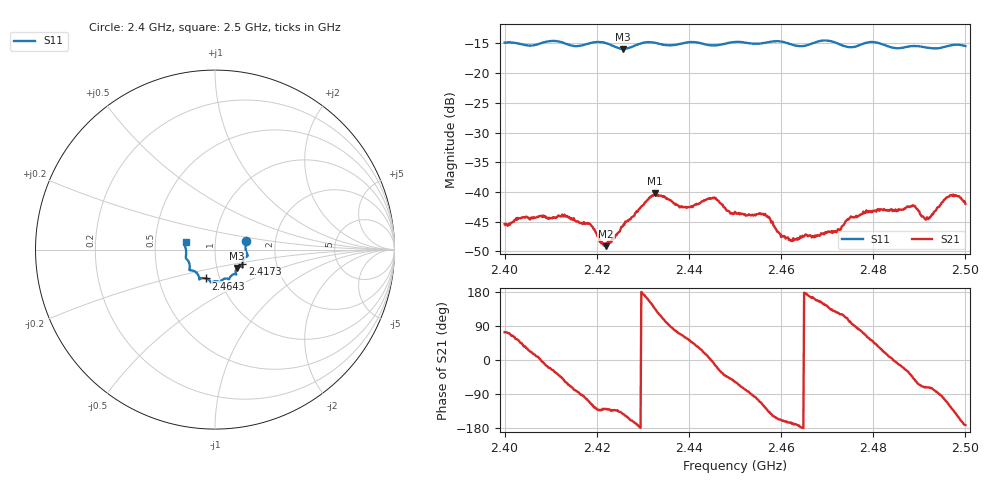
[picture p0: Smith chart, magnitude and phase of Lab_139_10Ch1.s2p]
# Hz S RI R 50
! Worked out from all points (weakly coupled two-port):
!   601 points, 2.4 GHz to 2.5 GHz, reference 50 ohm
!   highest |S21| = -40.24 dB at 2.4327 GHz (marker M1); lowest = -49.1 dB at 2.422 GHz (marker M2)
!   lowest |S11| = -15.9 dB at 2.4257 GHz (marker M3), VSWR 1.38, Z = 62.4 - j13.1 ohm
!   |S11| at or under -10 dB: start of sweep to end of sweep
!   S12 and S22 are empty: the file has one direction only
!   S11 on the Smith chart (normalised r, x): 2.4 GHz: 1.41, +0.14; 2.4173 GHz: 1.34, -0.23; 2.4643 GHz: 0.86, -0.28; 2.5 GHz: 0.72, +0.06
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2.4e9  0.1735 0.0491  0.00154 0.00515  0 0  0 0
2.412167e9  0.179 -0.0371  0.00443 -0.00442  0 0  0 0
2.416667e9  0.1532 -0.0747  -0.000261 -0.00549  0 0  0 0
2.417333e9  0.1524 -0.0822  -0.00077 -0.00547  0 0  0 0
2.422e9  0.1515 -0.095  -0.00219 -0.00272  0 0  0 0
2.425667e9  0.1226 -0.1026  -0.00404 -0.00318  0 0  0 0
2.432667e9  0.116 -0.1372  -0.00681 0.00695  0 0  0 0
2.433333e9  0.113 -0.1365  -0.00526 0.00782  0 0  0 0
2.439167e9  0.0807 -0.1605  0.00378 0.00646  0 0  0 0
2.445333e9  0.0526 -0.1624  0.00877 -0.00112  0 0  0 0
2.45e9  0.0294 -0.1806  0.00362 -0.00575  0 0  0 0
2.456167e9  -0.0075 -0.1785  -0.00327 -0.00565  0 0  0 0
2.4605e9  -0.0247 -0.1811  -0.00395 -0.00146  0 0  0 0
2.464333e9  -0.0501 -0.1607  -0.00412 -0.000175  0 0  0 0
2.466667e9  -0.0761 -0.1595  -0.00398 0.00118  0 0  0 0
2.4725e9  -0.089 -0.1516  -0.00265 0.004  0 0  0 0
2.478167e9  -0.1358 -0.1158  0.00258 0.00625  0 0  0 0
2.483333e9  -0.1409 -0.0901  0.00691 0.00117  0 0  0 0
2.488667e9  -0.162 -0.0472  0.00517 -0.00574  0 0  0 0
2.491667e9  -0.1612 -0.0285  0.00184 -0.00584  0 0  0 0
2.496333e9  -0.1681 0.0218  -0.00408 -0.00814  0 0  0 0
2.5e9  -0.1637 0.0417  -0.00786 -0.00114  0 0  0 0
